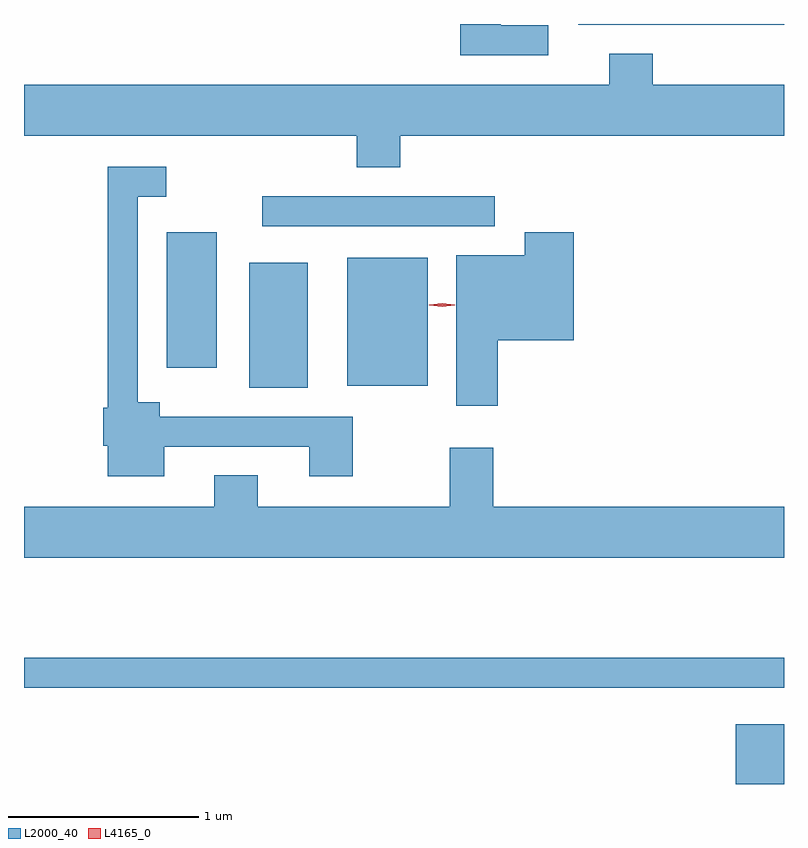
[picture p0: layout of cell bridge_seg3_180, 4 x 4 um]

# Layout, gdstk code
import gdstk
lib = gdstk.Library(unit=1e-6, precision=1e-09)
def R(c, l, rs):  # rectangles x0, y0, x1, y1
    for r in rs: c.add(gdstk.rectangle(r[:2], r[2:], *l))
def P(c, l, *ps):  # polygons
    for p in ps: c.add(gdstk.Polygon(p, *l))
L2000_40 = (2000, 40)
L4165_0 = (4165, 0)

bridge_seg3_180 = lib.new_cell('bridge_seg3_180')
R(bridge_seg3_180, L2000_40, [(765.086,1122.605,765.34,1122.919), (761.34,1123.111,765.34,1123.269), (762.526,1124.691,762.834,1125.349), (763.041,1124.701,763.464,1125.374), (762.091,1124.796,762.354,1125.509), (762.593,1125.541,763.818,1125.699), (764.256,1126.601,765.34,1126.605)])
P(bridge_seg3_180, L2000_40, [(764.098,1126.599),(763.849,1126.599),(763.849,1126.605),(763.636,1126.605),(763.636,1126.441),(764.098,1126.441)],
  [(763.319,1126.016),(765.34,1126.016),(765.34,1126.284),(764.649,1126.284),(764.649,1126.449),(764.421,1126.449),(764.421,1126.284),(761.34,1126.284),(761.34,1126.016),(763.091,1126.016),(763.091,1125.851),(763.319,1125.851)],
  [(762.079,1124.381),(762.841,1124.381),(762.841,1124.226),(763.069,1124.226),(763.069,1124.539),(762.054,1124.539),(762.054,1124.614),(761.939,1124.614),(761.939,1125.696),(762.088,1125.696),(762.088,1125.854),(761.781,1125.854),(761.781,1124.584),(761.756,1124.584),(761.756,1124.386),(761.781,1124.386),(761.781,1124.226),(762.079,1124.226)],
  [(763.834,1124.941),(764.234,1124.941),(764.234,1125.509),(763.976,1125.509),(763.976,1125.389),(763.616,1125.389),(763.616,1124.596),(763.834,1124.596)],
  [(765.34,1124.064),(763.809,1124.064),(763.809,1124.374),(763.581,1124.374),(763.581,1124.064),(762.569,1124.064),(762.569,1124.229),(762.341,1124.229),(762.341,1124.064),(761.34,1124.064),(761.34,1123.796),(765.34,1123.796)])
P(bridge_seg3_180, L4165_0, [(763.54,1125.116),(763.474,1125.126),(763.474,1125.126),(763.474,1125.127),(763.54,1125.136),(763.606,1125.127),(763.607,1125.126),(763.606,1125.126)])

lib.write_gds('bridge_seg3_180.gds')
